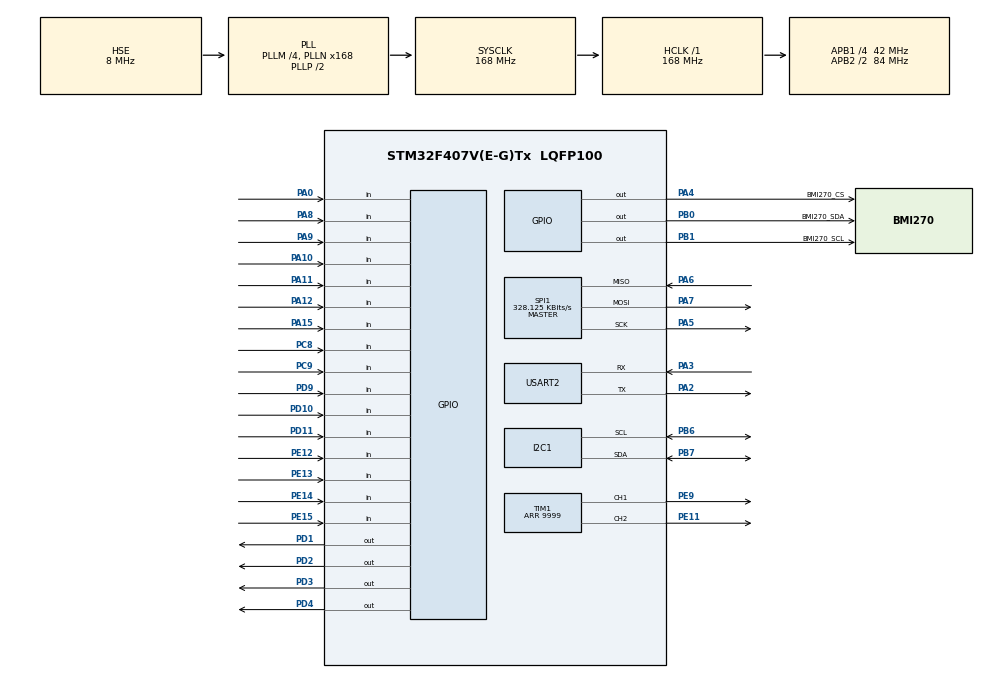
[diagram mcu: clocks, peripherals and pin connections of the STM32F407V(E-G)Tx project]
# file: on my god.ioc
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Mcu.Family=STM32F4
Mcu.Name=STM32F407V(E-G)Tx
Mcu.Package=LQFP100
NVIC.PriorityGroup=NVIC_PRIORITYGROUP_4
NVIC.TIM6_DAC_IRQn=true\:1\:0\:true\:false\:true\:true\:true\:true
NVIC.TIM7_IRQn=true\:0\:0\:false\:false\:true\:true\:true\:true
NVIC.USART2_IRQn=true\:0\:0\:false\:false\:true\:true\:true\:true
PA0-WKUP.GPIO_PuPd=GPIO_PULLUP
PA0-WKUP.Signal=GPIO_Input
PA10.Signal=GPIO_Input
PA11.Signal=GPIO_Input
PA12.Signal=GPIO_Input
PA13.Mode=Serial_Wire
PA13.Signal=SYS_JTMS-SWDIO
PA14.Mode=Serial_Wire
PA14.Signal=SYS_JTCK-SWCLK
PA15.Signal=GPIO_Input
PA2.Mode=Asynchronous
PA2.Signal=USART2_TX
PA3.Mode=Asynchronous
PA3.Signal=USART2_RX
PA4.GPIO_Label=BMI270_CS
PA4.Signal=GPIO_Output
PA5.Mode=Full_Duplex_Master
PA5.Signal=SPI1_SCK
PA6.Mode=Full_Duplex_Master
PA6.Signal=SPI1_MISO
PA7.Mode=Full_Duplex_Master
PA7.Signal=SPI1_MOSI
PA8.Signal=GPIO_Input
PA9.Signal=GPIO_Input
PB0.GPIO_Label=BMI270_SDA
PB0.Signal=GPIO_Output
PB1.GPIO_Label=BMI270_SCL
PB1.Signal=GPIO_Output
PB6.Mode=I2C
PB6.Signal=I2C1_SCL
PB7.Mode=I2C
PB7.Signal=I2C1_SDA
PC8.Signal=GPIO_Input
PC9.Signal=GPIO_Input
PD1.Signal=GPIO_Output
PD10.GPIO_PuPd=GPIO_PULLUP
PD10.Signal=GPIO_Input
PD11.GPIO_PuPd=GPIO_PULLUP
PD11.Signal=GPIO_Input
PD2.Signal=GPIO_Output
PD3.Signal=GPIO_Output
PD4.Signal=GPIO_Output
PD9.GPIO_PuPd=GPIO_PULLUP
PD9.Signal=GPIO_Input
PE11.Signal=S_TIM1_CH2
PE12.Signal=GPIO_Input
PE13.Signal=GPIO_Input
PE14.Signal=GPIO_Input
PE15.Signal=GPIO_Input
PE9.Signal=S_TIM1_CH1
PH0-OSC_IN.Mode=HSE-External-Oscillator
PH0-OSC_IN.Signal=RCC_OSC_IN
PH1-OSC_OUT.Mode=HSE-External-Oscillator
PH1-OSC_OUT.Signal=RCC_OSC_OUT
ProjectManager.HeapSize=0x200
ProjectManager.StackSize=0x400
ProjectManager.TargetToolchain=MDK-ARM V5.32
RCC.48MHZClocksFreq_Value=84000000
RCC.AHBFreq_Value=168000000
RCC.APB1CLKDivider=RCC_HCLK_DIV4
RCC.APB1Freq_Value=42000000
RCC.APB1TimFreq_Value=84000000
RCC.APB2CLKDivider=RCC_HCLK_DIV2
RCC.APB2Freq_Value=84000000
RCC.APB2TimFreq_Value=168000000
RCC.CortexFreq_Value=168000000
RCC.HCLKFreq_Value=168000000
RCC.HSE_VALUE=8000000
RCC.HSI_VALUE=16000000
RCC.LSE_VALUE=32768
RCC.PLLM=4
RCC.PLLN=168
RCC.PLLSourceVirtual=RCC_PLLSOURCE_HSE
RCC.SYSCLKFreq_VALUE=168000000
RCC.SYSCLKSource=RCC_SYSCLKSOURCE_PLLCLK
RCC.VCOOutputFreq_Value=336000000
SH.S_TIM1_CH1.0=TIM1_CH1,PWM Generation1 CH1
SH.S_TIM1_CH2.0=TIM1_CH2,PWM Generation2 CH2
SPI1.BaudRatePrescaler=SPI_BAUDRATEPRESCALER_256
SPI1.CLKPhase=SPI_PHASE_2EDGE
SPI1.CLKPolarity=SPI_POLARITY_HIGH
SPI1.CalculateBaudRate=328.125 KBits/s
SPI1.Direction=SPI_DIRECTION_2LINES
SPI1.Mode=SPI_MODE_MASTER
SPI1.VirtualType=VM_MASTER
TIM1.Channel-PWM\ Generation1\ CH1=TIM_CHANNEL_1
TIM1.Channel-PWM\ Generation2\ CH2=TIM_CHANNEL_2
TIM1.Period=9999
TIM6.Period=9999
TIM6.Prescaler=83
TIM7.Period=99
TIM7.Prescaler=83
USART2.VirtualMode=VM_ASYNC
VP_TIM1_VS_ClockSourceINT.Mode=Internal
VP_TIM6_VS_ClockSourceINT.Mode=Enable_Timer
VP_TIM7_VS_ClockSourceINT.Mode=Enable_Timer
board=custom

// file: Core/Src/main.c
/* USER CODE BEGIN Header */
/**
  ******************************************************************************
  * @file           : main.c
  * @brief          : Main program body
  ******************************************************************************
  * @attention
  *
  * Copyright (c) 2026 STMicroelectronics.
  * All rights reserved.
  *
  * This software is licensed under terms that can be found in the LICENSE file
  * in the root directory of this software component.
  * If no LICENSE file comes with this software, it is provided AS-IS.
  *
  ******************************************************************************
  */
/* USER CODE END Header */
#include "main.h"
#include "i2c.h"
#include "spi.h"
#include "tim.h"
#include "usart.h"
#include "gpio.h"

/* USER CODE BEGIN Includes */
#include "motor.h"
#include "timer.h"
#include "encoder.h"
#include "imu_bsp.h"
#include "IMU.h"
#include "common.h"
#include "vofa.h"
#include "logic.h"
#include "key.h"
/* USER CODE END Includes */

void SystemClock_Config(void);
/* USER CODE BEGIN PFP */
int fputc(int ch, FILE *p)
{
    HAL_UART_Transmit(&huart2, (uint8_t *)&ch, 1, 0xffff);
    return ch;
}
/* USER CODE END PFP */

/* USER CODE BEGIN 0 */
float start = 0;
float motion[6];
/* USER CODE END 0 */

int main(void)
{

  /* MCU Configuration--------------------------------------------------------*/

  /* Reset of all peripherals, Initializes the Flash interface and the Systick. */
  HAL_Init();

  /* Configure the system clock */
  SystemClock_Config();

  /* Initialize all configured peripherals */
  MX_GPIO_Init();
  MX_TIM1_Init();
  MX_SPI1_Init();
  MX_TIM6_Init();
  MX_USART2_UART_Init();
  MX_I2C1_Init();
  MX_TIM7_Init();
  /* USER CODE BEGIN 2 */
	ALL_Init();
	// HAL_TIM_PWM_Start_IT(&htim1, TIM_CHANNEL_1);
  // HAL_TIM_PWM_Start_IT(&htim1, TIM_CHANNEL_2);
  HAL_TIM_PWM_Start(&htim1, TIM_CHANNEL_1);        // ����PWM
  HAL_TIM_PWM_Start(&htim1, TIM_CHANNEL_2);        // ����PWM

  /* Pause unused IMU timers during speed tuning. */
//	xunji_1(10,10);
//		Speed_Control(50,50);
		start = angle[0];
//	SET_Motor_PWM(2000,2000);

  /* USER CODE END 2 */

  /* Infinite loop */
  while (1)
  {

    /* USER CODE BEGIN 3 */
//		printf("------%d\r\n  %d\r\n  %d\r\n  %d\r\n  %d\r\n  %d\r\n-----",Out_2,Out_3,Out_4,Out_5,Out_6,Out_7);
//		HAL_Delay(1000);
//		VOFA_Process();
//		Angle_Control(90,1000,1000);

		//Test1();
		//Test2();
		//Test3();
		//Key_Poll();
		Test4();

  }
  /* USER CODE END 3 */
}

void SystemClock_Config(void)
{
  RCC_OscInitTypeDef RCC_OscInitStruct = {0};
  RCC_ClkInitTypeDef RCC_ClkInitStruct = {0};

  /** Configure the main internal regulator output voltage
  */
  __HAL_RCC_PWR_CLK_ENABLE();
  __HAL_PWR_VOLTAGESCALING_CONFIG(PWR_REGULATOR_VOLTAGE_SCALE1);

  /** Initializes the RCC Oscillators according to the specified parameters
  * in the RCC_OscInitTypeDef structure.
  */
  RCC_OscInitStruct.OscillatorType = RCC_OSCILLATORTYPE_HSE;
  RCC_OscInitStruct.HSEState = RCC_HSE_ON;
  RCC_OscInitStruct.PLL.PLLState = RCC_PLL_ON;
  RCC_OscInitStruct.PLL.PLLSource = RCC_PLLSOURCE_HSE;
  RCC_OscInitStruct.PLL.PLLM = 4;
  RCC_OscInitStruct.PLL.PLLN = 168;
  RCC_OscInitStruct.PLL.PLLP = RCC_PLLP_DIV2;
  RCC_OscInitStruct.PLL.PLLQ = 4;
  if (HAL_RCC_OscConfig(&RCC_OscInitStruct) != HAL_OK)
  {
    Error_Handler();
  }

  /** Initializes the CPU, AHB and APB buses clocks
  */
  RCC_ClkInitStruct.ClockType = RCC_CLOCKTYPE_HCLK|RCC_CLOCKTYPE_SYSCLK
                              |RCC_CLOCKTYPE_PCLK1|RCC_CLOCKTYPE_PCLK2;
  RCC_ClkInitStruct.SYSCLKSource = RCC_SYSCLKSOURCE_PLLCLK;
  RCC_ClkInitStruct.AHBCLKDivider = RCC_SYSCLK_DIV1;
  RCC_ClkInitStruct.APB1CLKDivider = RCC_HCLK_DIV4;
  RCC_ClkInitStruct.APB2CLKDivider = RCC_HCLK_DIV2;

  if (HAL_RCC_ClockConfig(&RCC_ClkInitStruct, FLASH_LATENCY_5) != HAL_OK)
  {
    Error_Handler();
  }
}

void Error_Handler(void)
{
  __disable_irq();
  while (1)
  {
  }
}
